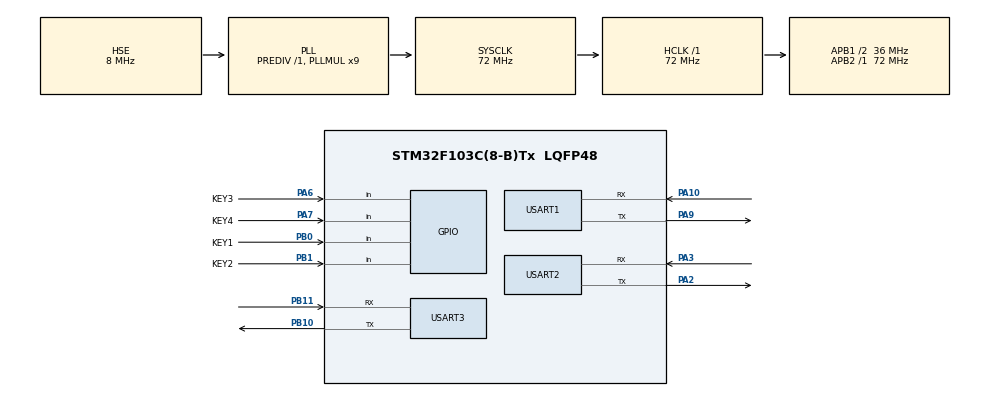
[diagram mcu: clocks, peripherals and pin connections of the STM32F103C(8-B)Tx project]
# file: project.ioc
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Mcu.Family=STM32F1
Mcu.Name=STM32F103C(8-B)Tx
Mcu.Package=LQFP48
NVIC.PriorityGroup=NVIC_PRIORITYGROUP_4
NVIC.USART3_IRQn=true\:0\:0\:false\:false\:true\:true\:true\:true
PA10.Mode=Asynchronous
PA10.Signal=USART1_RX
PA13.Mode=Serial_Wire
PA13.Signal=SYS_JTMS-SWDIO
PA14.Mode=Serial_Wire
PA14.Signal=SYS_JTCK-SWCLK
PA2.Mode=Asynchronous
PA2.Signal=USART2_TX
PA3.Mode=Asynchronous
PA3.Signal=USART2_RX
PA6.GPIO_Label=KEY3
PA6.GPIO_PuPd=GPIO_PULLUP
PA6.Signal=GPIO_Input
PA7.GPIO_Label=KEY4
PA7.GPIO_PuPd=GPIO_PULLUP
PA7.Signal=GPIO_Input
PA9.Mode=Asynchronous
PA9.Signal=USART1_TX
PB0.GPIO_Label=KEY1
PB0.GPIO_PuPd=GPIO_PULLUP
PB0.Signal=GPIO_Input
PB1.GPIO_Label=KEY2
PB1.GPIO_PuPd=GPIO_PULLUP
PB1.Signal=GPIO_Input
PB10.Mode=Asynchronous
PB10.Signal=USART3_TX
PB11.Mode=Asynchronous
PB11.Signal=USART3_RX
PD0-OSC_IN.Mode=HSE-External-Oscillator
PD0-OSC_IN.Signal=RCC_OSC_IN
PD1-OSC_OUT.Mode=HSE-External-Oscillator
PD1-OSC_OUT.Signal=RCC_OSC_OUT
ProjectManager.HeapSize=0x200
ProjectManager.StackSize=0x400
ProjectManager.TargetToolchain=MDK-ARM V5.32
RCC.AHBFreq_Value=72000000
RCC.APB1CLKDivider=RCC_HCLK_DIV2
RCC.APB1Freq_Value=36000000
RCC.APB1TimFreq_Value=72000000
RCC.APB2Freq_Value=72000000
RCC.APB2TimFreq_Value=72000000
RCC.HCLKFreq_Value=72000000
RCC.PLLMUL=RCC_PLL_MUL9
RCC.PLLSourceVirtual=RCC_PLLSOURCE_HSE
RCC.SYSCLKFreq_VALUE=72000000
RCC.SYSCLKSource=RCC_SYSCLKSOURCE_PLLCLK
RCC.USBFreq_Value=72000000
USART1.VirtualMode=VM_ASYNC
USART2.VirtualMode=VM_ASYNC
USART3.VirtualMode=VM_ASYNC
board=custom

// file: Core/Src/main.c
/* USER CODE BEGIN Header */
/**
  ******************************************************************************
  * @file           : main.c
  * @brief          : Main program body
  ******************************************************************************
  * @attention
  *
  * Copyright (c) 2026 STMicroelectronics.
  * All rights reserved.
  *
  * This software is licensed under terms that can be found in the LICENSE file
  * in the root directory of this software component.
  * If no LICENSE file comes with this software, it is provided AS-IS.
  *
  ******************************************************************************
  */
/* USER CODE END Header */
#include "main.h"
#include "usart.h"
#include "gpio.h"

/* USER CODE BEGIN Includes */

#include "math.h"
#include "Emm_V5.h"
#include "ZDT.h"
#include "uart.h"

/* USER CODE END Includes */

/* USER CODE BEGIN PV */
//ni
float a,b,pi=3.14;
float c ;
//目标坐标
//与MATLAB仿真放置角度差异
//qian_mian_keil,hou_mian_mat
//X:Z,Y:Y,Z:X
float x_t,y_t,z_t;
//目标点到2轴参数
float t_xy,t_xz,t_L,t_z;
//杆长
float L1,L2;
//角度
float xita_3,xita_2,xita_1;
//三角函数
float c2,s2,c3,s3,c11;
//系数
float k,j,z;

//key
float clk_1,clk_2,clk_3;
uint8_t usdir;
uint8_t key_temp,key1,key2,key3,key4;

//uart
uint8_t rx_buf[100];
/* USER CODE END PV */

void SystemClock_Config(void);

/* USER CODE BEGIN 0 */

void nijie_proce(void);
void key_proce(void);

void HAL_UARTEx_RxEventCallback(UART_HandleTypeDef *huart, uint16_t Size)
{
	if(huart==&huart3)
	{
		write_proce(rx_buf,Size);
		HAL_UARTEx_ReceiveToIdle_IT(&huart3,rx_buf,sizeof(rx_buf));
	}
}
/*
读出的Y对应-X，X对应Y，Z相同（现在摄像头改）
计算时又不一样
计算（前M后K）Z对应X Y对应Y X对应Z（应该没有取反？）
传过来的数据：帧头 X高8X低8 Y高8Y低8 Z高8Z低8 校验
要以计算用的XYZ坐标去接收识别到的XYZ坐标
*/

//void HAL_UART_RxCpltCallback(UART_HandleTypeDef *huart)
//{
//	if(huart==&huart3)
//	{
//		write_proce(rx_buf,8);
//		//HAL_UARTEx_ReceiveToIdle_IT(&huart3,rx_buf,sizeof(rx_buf));
//		HAL_UART_Receive_IT(&huart3,rx_buf,sizeof(rx_buf));
//	}
//}

/* USER CODE END 0 */

int main(void)
{

  /* MCU Configuration--------------------------------------------------------*/

  /* Reset of all peripherals, Initializes the Flash interface and the Systick. */
  HAL_Init();

  /* Configure the system clock */
  SystemClock_Config();

  /* Initialize all configured peripherals */
  MX_GPIO_Init();
  MX_USART1_UART_Init();
  MX_USART2_UART_Init();
  MX_USART3_UART_Init();
  /* USER CODE BEGIN 2 */

	a = pi/180;         //角度转弧度
	b = (1 / pi) * 180;    //弧度转角度
	c= (81.1827/360)*3200;//clk脉冲数

	//30  30  -60  90  0
	//250.795  -54.204  -72.250

	//t:目标
	//目标坐标
	x_t = 254.2;
	y_t = 34.84;
	z_t = -72.250;

	//两根连杆长
	L1 = 120;
	L2 = 190;

//	HAL_UART_Receive_IT(&huart3,rx_buf,sizeof(rx_buf));
	HAL_UARTEx_ReceiveToIdle_IT(&huart3,rx_buf,sizeof(rx_buf));
	uint8_t tx_data[50];
	uint8_t data_length=0;
  /* USER CODE END 2 */

  /* Infinite loop */
  /* USER CODE BEGIN WHILE */
  while (1)
  {

		data_length = get_command(tx_data);
		if(data_length != 0)
		{
//			计算的x_t = 换算臂的z;
//						y_t = x;
//						z_t = -y;
			//应该还要再减去机械臂原点坐标
			HAL_UART_Transmit(&huart3,tx_data,data_length,HAL_MAX_DELAY);
			x_t = (0.00+182.25-170.00)+((tx_data[6]<<8)|tx_data[5]);
			y_t = (170.00+122.50+148.50)-((tx_data[2]<<8)|tx_data[1]);		//到摄像头距离+到摄像头三维原点距离+误差偏移
			z_t = (-80.00+104.50+154.5)-((tx_data[4]<<8)|tx_data[3]);	//多一个基座抬高距离
			nijie_proce();

		}

		if(tx_data[5]!=0&&tx_data[1]!=0&&tx_data[3]!=0)
		{

			if(clk_3<0)
		{
			clk_3 = -clk_3;
			usdir = 1;
		}
		else usdir =0;
		position_control_zdt(1,usdir,3000,clk_3,true,0);	//dir原0
		HAL_Delay(5);

		if(clk_2<0)
		{
			clk_2 = -clk_2;
			usdir = 1;
		}
		else usdir =0;
		Emm_V5_Pos_Control(2, usdir, 500, 25, clk_2, true, false);	//dir原1
		HAL_Delay(5);

		if(clk_1<0)
		{
			clk_1 = -clk_1;
			usdir = 0;
		}
		else usdir =1;
		Emm_V5_Pos_Control(1, usdir, 500, 25, clk_1, true, false);	//dir原1

		}
		//HAL_Delay(10000);
		key_proce();
    /* USER CODE END WHILE */

  }
}

void SystemClock_Config(void)
{
  RCC_OscInitTypeDef RCC_OscInitStruct = {0};
  RCC_ClkInitTypeDef RCC_ClkInitStruct = {0};

  /** Initializes the RCC Oscillators according to the specified parameters
  * in the RCC_OscInitTypeDef structure.
  */
  RCC_OscInitStruct.OscillatorType = RCC_OSCILLATORTYPE_HSE;
  RCC_OscInitStruct.HSEState = RCC_HSE_ON;
  RCC_OscInitStruct.HSEPredivValue = RCC_HSE_PREDIV_DIV1;
  RCC_OscInitStruct.HSIState = RCC_HSI_ON;
  RCC_OscInitStruct.PLL.PLLState = RCC_PLL_ON;
  RCC_OscInitStruct.PLL.PLLSource = RCC_PLLSOURCE_HSE;
  RCC_OscInitStruct.PLL.PLLMUL = RCC_PLL_MUL9;
  if (HAL_RCC_OscConfig(&RCC_OscInitStruct) != HAL_OK)
  {
    Error_Handler();
  }

  /** Initializes the CPU, AHB and APB buses clocks
  */
  RCC_ClkInitStruct.ClockType = RCC_CLOCKTYPE_HCLK|RCC_CLOCKTYPE_SYSCLK
                              |RCC_CLOCKTYPE_PCLK1|RCC_CLOCKTYPE_PCLK2;
  RCC_ClkInitStruct.SYSCLKSource = RCC_SYSCLKSOURCE_PLLCLK;
  RCC_ClkInitStruct.AHBCLKDivider = RCC_SYSCLK_DIV1;
  RCC_ClkInitStruct.APB1CLKDivider = RCC_HCLK_DIV2;
  RCC_ClkInitStruct.APB2CLKDivider = RCC_HCLK_DIV1;

  if (HAL_RCC_ClockConfig(&RCC_ClkInitStruct, FLASH_LATENCY_2) != HAL_OK)
  {
    Error_Handler();
  }
}

/* USER CODE BEGIN 4 */

void nijie_proce(void)
{
//转到目标点平面的XY轴
//t_x = atan2(y_t,x_t) * b
//t_y = z_t

//目标点xy到2轴距离，跟z轴上的距离组成直角三角形可求得目标点与2轴的距离
t_xy = sqrt(x_t*x_t+y_t*y_t);
//目标点xz到2轴距离
t_xz = sqrt(x_t*x_t+z_t*z_t);
//目标点与2轴在z轴的差距，2轴本身被1轴抬高了37.5
t_z = 37.5 - (z_t);
//目标点到2轴的距离
t_L = sqrt(t_xy*t_xy+t_z*t_z);

//直接用目标点平面和2轴平面算夹角是错的
//acos(t_xy/t_L)*b

//余弦定理求转角
xita_3 = 180 - acos((t_L*t_L-L1*L1-L2*L2)/(-2*L1*L2))*b;
c3 = -(t_L*t_L-L1*L1-L2*L2)/(-2*L1*L2);
s3 = sqrt(1-c3*c3);

s2 = (z_t - 37.5)/(-199*c3 - 120);
c2 = sqrt(1-s2*s2);
xita_2 = asin(s2)*b;

k = 199*c2*c3 +120*c2 ;
j = -199*s3;
//z = (-2*k*y_t + sqrt((4*k*k*y_t*y_t)-(4*(-(j*j+k*k))*(j*j-y_t*y_t))))/(-2*(j*j+k*k));
//c11 = 180 - acos(z)*b;
//xita_1 = c11 -((c11-45.5)*0.14);

z = (2*k*y_t + sqrt((4*k*k*y_t*y_t)-(4*(-(j*j+k*k))*(j*j-y_t*y_t))))/(2*(j*j+k*k));
xita_1 = acos(z)*b;

//x = [0,7,15,22,30,45,55,60,70,75,90];

//一圈3200脉冲，81.1827圈:1

		clk_1 = xita_1*c;
		clk_2 = xita_2*c;
		clk_3 = xita_3*c;
}

void key_proce(void)
{
	key1 = HAL_GPIO_ReadPin(KEY1_GPIO_Port,KEY1_Pin);
		key2 = HAL_GPIO_ReadPin(KEY2_GPIO_Port,KEY2_Pin);
		key3 = HAL_GPIO_ReadPin(KEY3_GPIO_Port,KEY3_Pin);
		key4 = HAL_GPIO_ReadPin(KEY4_GPIO_Port,KEY4_Pin);

		if(key1==0)
		{
			HAL_Delay(30);
			key_temp++;
			if(key_temp>2) key_temp=0;
			while(HAL_GPIO_ReadPin(KEY1_GPIO_Port,KEY1_Pin)==0);
		}
		if(key2==0)
		{
			HAL_Delay(30);
			if(key_temp==0) Emm_V5_Pos_Control(1, 0, 500, 25, 3600*5, false, false);
			if(key_temp==1) Emm_V5_Pos_Control(2, 0, 500, 25, 3600*5, false, false);
			if(key_temp==2) position_control_zdt(1,0,500,3600*5,false,0);
			while(HAL_GPIO_ReadPin(KEY2_GPIO_Port,KEY2_Pin)==0);
		}
		if(key3==0)
		{
			HAL_Delay(30);
			if(key_temp==0) Emm_V5_Pos_Control(1, 1, 500, 25, 3600*5, false, false);
			if(key_temp==1) Emm_V5_Pos_Control(2, 1, 500, 25, 3600*5, false, false);
			if(key_temp==2) position_control_zdt(1,1,500,3600*5,false,0);

			while(HAL_GPIO_ReadPin(KEY3_GPIO_Port,KEY3_Pin)==0);
		}
		if(key4==0)
		{
			HAL_Delay(30);
			Emm_V5_Pos_Control(1, 0, 500, 25, 0, true, false);
			HAL_Delay(5);
			Emm_V5_Pos_Control(2, 0, 500, 25, 0, true, false);
			HAL_Delay(5);
			position_control_zdt(1,1,2000,0,true,0);

			while(HAL_GPIO_ReadPin(KEY4_GPIO_Port,KEY4_Pin)==0);
		}
}

/* USER CODE END 4 */

void Error_Handler(void)
{
  __disable_irq();
  while (1)
  {
  }
}
